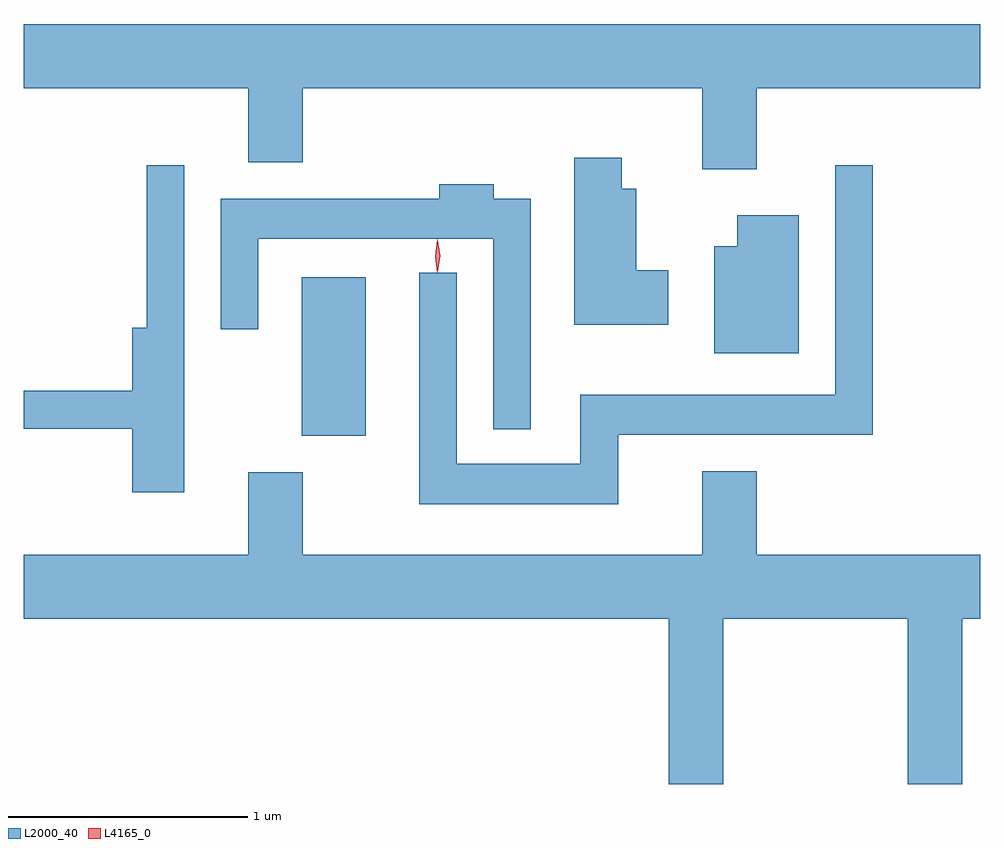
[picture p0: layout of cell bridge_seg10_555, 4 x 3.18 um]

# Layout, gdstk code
import gdstk
lib = gdstk.Library(unit=1e-6, precision=1e-09)
def R(c, l, rs):  # rectangles x0, y0, x1, y1
    for r in rs: c.add(gdstk.rectangle(r[:2], r[2:], *l))
def P(c, l, *ps):  # polygons
    for p in ps: c.add(gdstk.Polygon(p, *l))
L2000_40 = (2000, 40)
L4165_0 = (4165, 0)

bridge_seg10_555 = lib.new_cell('bridge_seg10_555')
R(bridge_seg10_555, L2000_40, [(782.106,2176.841,782.374,2177.504)])
P(bridge_seg10_555, L2000_40, [(784.009,2178.296),(784.943,2178.296),(784.943,2178.564),(780.943,2178.564),(780.943,2178.296),(781.881,2178.296),(781.881,2177.986),(782.109,2177.986),(782.109,2178.296),(783.781,2178.296),(783.781,2177.956),(784.009,2177.956)],
  [(783.639,2177.534),(783.504,2177.534),(783.504,2177.874),(783.444,2177.874),(783.444,2178.004),(783.246,2178.004),(783.246,2177.306),(783.639,2177.306)],
  [(781.614,2177.973),(781.456,2177.973),(781.456,2177.294),(781.396,2177.294),(781.396,2177.029),(780.943,2177.029),(780.943,2176.871),(781.396,2176.871),(781.396,2176.606),(781.614,2176.606)],
  [(783.429,2176.846),(784.494,2176.846),(784.494,2177.973),(784.336,2177.973),(784.336,2177.014),(783.271,2177.014),(783.271,2176.724),(782.754,2176.724),(782.754,2177.523),(782.596,2177.523),(782.596,2176.556),(783.429,2176.556)],
  [(783.064,2177.834),(782.909,2177.834),(782.909,2177.894),(782.681,2177.894),(782.681,2177.834),(781.766,2177.834),(781.766,2177.288),(781.924,2177.288),(781.924,2177.666),(782.906,2177.666),(782.906,2176.868),(783.064,2176.868)],
  [(784.184,2177.764),(783.926,2177.764),(783.926,2177.634),(783.831,2177.634),(783.831,2177.186),(784.184,2177.186)],
  [(783.869,2176.076),(784.641,2176.076),(784.641,2175.385),(784.869,2175.385),(784.869,2176.076),(784.943,2176.076),(784.943,2176.344),(784.009,2176.344),(784.009,2176.694),(783.781,2176.694),(783.781,2176.344),(782.109,2176.344),(782.109,2176.689),(781.881,2176.689),(781.881,2176.344),(780.943,2176.344),(780.943,2176.076),(783.641,2176.076),(783.641,2175.385),(783.869,2175.385)])
P(bridge_seg10_555, L4165_0, [(782.672,2177.524),(782.663,2177.593),(782.672,2177.662),(782.673,2177.663),(782.673,2177.662),(782.683,2177.593),(782.673,2177.524),(782.673,2177.524)],
  [(782.674,2177.527),(782.674,2177.528),(782.664,2177.594),(782.674,2177.66),(782.674,2177.66),(782.675,2177.66),(782.684,2177.594),(782.675,2177.528)])

lib.write_gds('bridge_seg10_555.gds')
